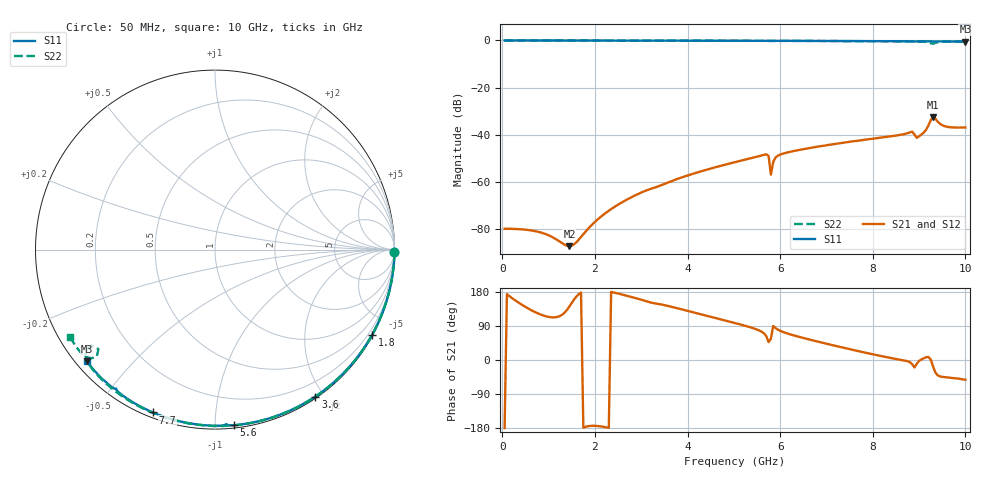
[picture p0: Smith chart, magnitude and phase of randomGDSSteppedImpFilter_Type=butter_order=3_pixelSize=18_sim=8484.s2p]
! freq	dB(S11)	phase(S11)	dB(S12)	phase(S12)
!  dB(S21)	phase(S21)	dB(S22)	phase(S22)
!S-par simulation data
#  GHz  S  DB  R 50
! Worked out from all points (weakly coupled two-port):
!   200 points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, 50 MHz to 10 GHz, reference 50 ohm
!   highest |S21| = -32.44 dB at 9.3 GHz (marker M1); lowest = -87.1 dB at 1.45 GHz (marker M2)
!   lowest |S11| = -0.5 dB at 10 GHz (marker M3), VSWR 37.21, Z = 1.53 - j18.7 ohm
!   |S11| at or under -10 dB: nowhere
!   |S22| runs from -1.4 to 0.0 dB; largest |S21 - S12| = 0
!   S11 on the Smith chart (normalised r, x): 50 MHz: open; 1.8 GHz: 0.03, -3.94; 3.6 GHz: 0.02, -1.89; 5.6 GHz: 0.02, -1.11; 7.7 GHz: 0.02, -0.69; 10 GHz: 0.03, -0.37
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0.05  -0.00 -0.8  -79.76 -179.7  -79.76 -179.7  -0.00 -0.9
1.45  -0.03 -23.1  -87.13 141.4  -87.13 141.4  -0.03 -24.9
1.75  -0.04 -27.7  -82.05 -178.5  -82.05 -178.5  -0.04 -30.0
1.8  -0.04 -28.5  -80.91 -176.2  -80.91 -176.2  -0.04 -30.8
2.55  -0.05 -40.0  -68.95 173.9  -68.95 173.9  -0.06 -43.2
3.4  -0.07 -52.7  -61.53 147.2  -61.53 147.2  -0.08 -56.9
3.6  -0.07 -55.7  -59.96 142.1  -59.96 142.1  -0.08 -60.0
5.05  -0.12 -76.3  -51.43 96.8  -51.43 96.8  -0.13 -82.1
5.6  -0.14 -83.9  -48.72 74.6  -48.72 74.6  -0.15 -90.1
5.75  -0.19 -86.1  -48.87 47.4  -48.87 47.4  -0.16 -92.3
5.8  -0.23 -86.3  -56.84 55.8  -56.84 55.8  -0.16 -93.0
5.85  -0.18 -86.8  -51.48 89.8  -51.48 89.8  -0.16 -93.7
5.95  -0.16 -88.3  -48.81 80.1  -48.81 80.1  -0.17 -95.1
6.7  -0.19 -98.2  -45.34 51.9  -45.34 51.9  -0.21 -105.7
7.7  -0.26 -110.9  -42.39 23.1  -42.39 23.1  -0.28 -119.4
8.35  -0.31 -119.0  -40.71 6.2  -40.71 6.2  -0.33 -128.3
8.85  -0.41 -125.2  -38.64 -11.0  -38.64 -11.0  -0.40 -135.5
8.95  -0.39 -125.9  -41.21 -9.9  -41.21 -9.9  -0.44 -137.2
9.15  -0.38 -128.5  -37.86 7.3  -37.86 7.3  -0.65 -141.1
9.3  -0.39 -130.3  -32.44 -16.1  -32.44 -16.1  -1.37 -139.5
9.55  -0.41 -133.5  -36.30 -45.1  -36.30 -45.1  -0.53 -141.9
10  -0.47 -139.0  -36.84 -52.2  -36.84 -52.2  -0.52 -149.0
